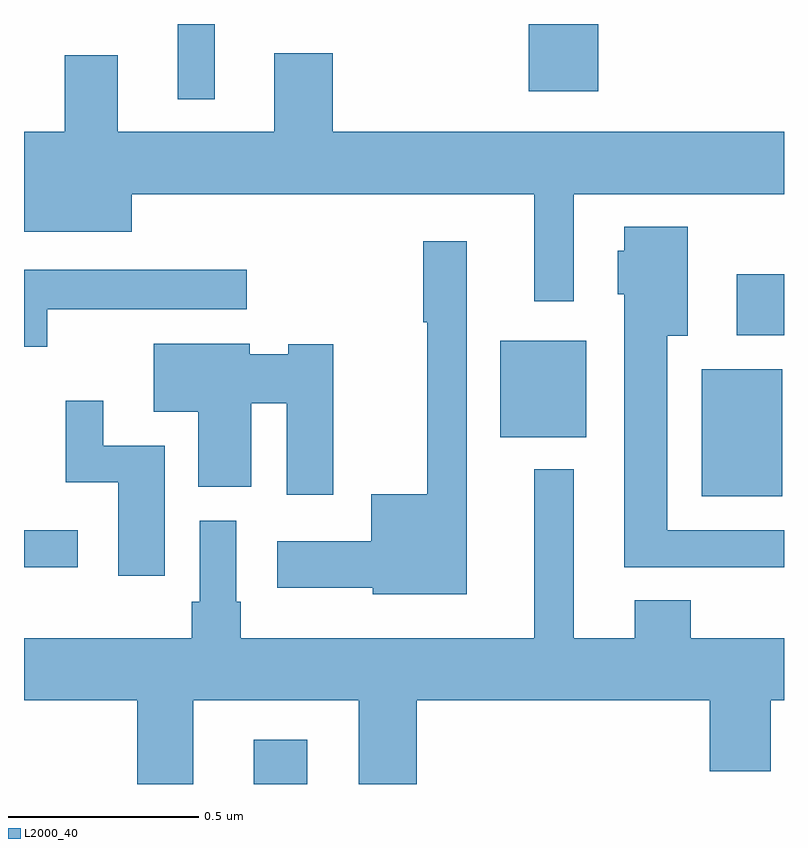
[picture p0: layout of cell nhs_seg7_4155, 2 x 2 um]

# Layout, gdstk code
import gdstk
lib = gdstk.Library(unit=1e-6, precision=1e-09)
def R(c, l, rs):  # rectangles x0, y0, x1, y1
    for r in rs: c.add(gdstk.rectangle(r[:2], r[2:], *l))
def P(c, l, *ps):  # polygons
    for p in ps: c.add(gdstk.Polygon(p, *l))
L2000_40 = (2000, 40)

nhs_seg7_4155 = lib.new_cell('nhs_seg7_4155')
R(nhs_seg7_4155, L2000_40, [(168.605,1063,168.745,1063.117), (168,1063.571,168.142,1063.668), (169.784,1063.757,169.996,1064.092), (169.253,1063.913,169.48,1064.167), (169.875,1064.181,170,1064.341), (168.404,1064.802,168.502,1065), (169.328,1064.823,169.511,1065)])
P(nhs_seg7_4155, L2000_40, [(169.447,1064.552),(170,1064.552),(170,1064.716),(168.812,1064.716),(168.812,1064.923),(168.659,1064.923),(168.659,1064.716),(168.247,1064.716),(168.247,1064.918),(168.107,1064.918),(168.107,1064.716),(168,1064.716),(168,1064.453),(168.283,1064.453),(168.283,1064.552),(169.343,1064.552),(169.343,1064.271),(169.447,1064.271)],
  [(170,1063.668),(169.693,1063.668),(169.693,1064.18),(169.747,1064.18),(169.747,1064.467),(169.58,1064.467),(169.58,1064.403),(169.562,1064.403),(169.562,1064.289),(169.58,1064.289),(169.58,1063.571),(170,1063.571)],
  [(169.165,1064.428),(169.051,1064.428),(169.051,1064.215),(169.061,1064.215),(169.061,1063.762),(168.914,1063.762),(168.914,1063.639),(168.666,1063.639),(168.666,1063.517),(168.918,1063.517),(168.918,1063.499),(169.165,1063.499)],
  [(168.061,1064.249),(168.586,1064.249),(168.586,1064.353),(168,1064.353),(168,1064.151),(168.061,1064.151)],
  [(168.814,1064.157),(168.696,1064.157),(168.696,1064.131),(168.594,1064.131),(168.594,1064.158),(168.341,1064.158),(168.341,1063.979),(168.458,1063.979),(168.458,1063.782),(168.598,1063.782),(168.598,1064.002),(168.692,1064.002),(168.692,1063.761),(168.814,1063.761)],
  [(168.37,1063.89),(168.208,1063.89),(168.208,1064.008),(168.11,1064.008),(168.11,1063.794),(168.248,1063.794),(168.248,1063.548),(168.37,1063.548)],
  [(168.445,1063.22),(168.881,1063.22),(168.881,1063),(169.034,1063),(169.034,1063.22),(169.805,1063.22),(169.805,1063.033),(169.965,1063.033),(169.965,1063.22),(170,1063.22),(170,1063.384),(169.755,1063.384),(169.755,1063.483),(169.607,1063.483),(169.607,1063.384),(169.447,1063.384),(169.447,1063.828),(169.343,1063.828),(169.343,1063.384),(168.571,1063.384),(168.571,1063.48),(168.558,1063.48),(168.558,1063.693),(168.462,1063.693),(168.462,1063.48),(168.442,1063.48),(168.442,1063.384),(168,1063.384),(168,1063.22),(168.298,1063.22),(168.298,1063),(168.445,1063)])

lib.write_gds('nhs_seg7_4155.gds')
